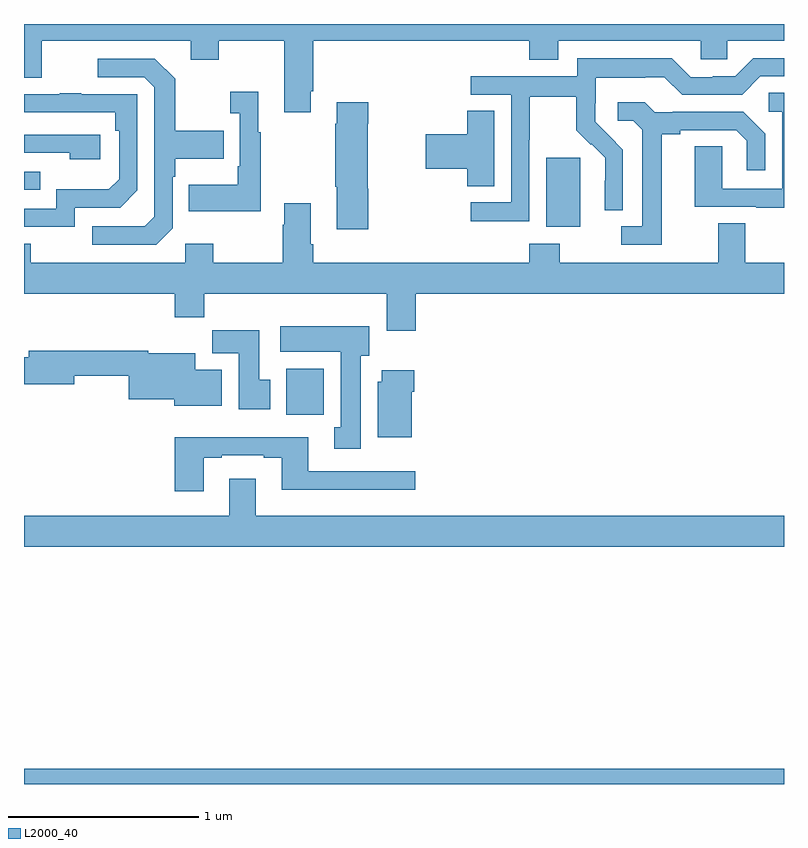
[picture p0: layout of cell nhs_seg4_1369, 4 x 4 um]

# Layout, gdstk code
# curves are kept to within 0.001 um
import gdstk
lib = gdstk.Library(unit=1e-6, precision=1e-09)
def R(c, l, rs):  # rectangles x0, y0, x1, y1
    for r in rs: c.add(gdstk.rectangle(r[:2], r[2:], *l))
def P(c, l, *ps):  # polygons
    for p in ps: c.add(gdstk.Polygon(p, *l))
L2000_40 = (2000, 40)

nhs_seg4_1369 = lib.new_cell('nhs_seg4_1369')
R(nhs_seg4_1369, L2000_40, [(181,800.9,185,800.98), (182.381,802.844,182.578,803.086), (183.749,803.834,183.928,804.195), (181,804.027,181.085,804.123)])
P(nhs_seg4_1369, L2000_40, [(183.659,804.713),(183.811,804.713),(183.811,804.812),(184.563,804.812),(184.563,804.714),(184.701,804.714),(184.701,804.812),(185,804.812),(185,804.9),(181,804.9),(181,804.618),(181.093,804.618),(181.093,804.812),(181.877,804.812),(181.877,804.713),(182.025,804.713),(182.025,804.812),(182.369,804.812),(182.369,804.435),(182.509,804.435),(182.509,804.547),(182.522,804.547),(182.522,804.812),(183.659,804.812)],
  [(183.66,804.292),(183.663,804.292),(183.663,804.516),(183.907,804.516),(183.907,804.341),(183.984,804.264),(183.987,804.267),(184.058,804.197),(184.058,804.074),(184.056,804.074),(184.056,803.92),(184.152,803.92),(184.152,804.238),(184.006,804.386),(184.006,804.483),(184.008,804.483),(184.008,804.617),(184.271,804.617),(184.271,804.621),(184.371,804.621),(184.464,804.528),(184.779,804.528),(184.875,804.624),(185,804.624),(185,804.72),(184.839,804.72),(184.743,804.624),(184.625,804.624),(184.625,804.621),(184.509,804.621),(184.409,804.721),(183.912,804.721),(183.912,804.624),(183.351,804.624),(183.351,804.528),(183.564,804.528),(183.564,803.961),(183.351,803.961),(183.351,803.863),(183.66,803.863)],
  [(181.782,803.826),(181.782,804.095),(181.795,804.095),(181.795,804.191),(182.051,804.191),(182.051,804.339),(181.795,804.339),(181.795,804.611),(181.689,804.717),(181.389,804.717),(181.389,804.621),(181.632,804.621),(181.686,804.567),(181.686,803.886),(181.635,803.835),(181.359,803.835),(181.359,803.739),(181.695,803.739)],
  [(182.245,804.331),(182.233,804.331),(182.233,804.544),(182.085,804.544),(182.085,804.431),(182.136,804.431),(182.136,804.151),(182.124,804.151),(182.124,804.055),(181.867,804.055),(181.867,803.915),(182.245,803.915)],
  [(185,804.539),(184.92,804.539),(184.92,804.438),(184.992,804.438),(184.992,804.033),(184.674,804.033),(184.674,804.257),(184.529,804.257),(184.529,803.937),(184.853,803.937),(184.853,803.933),(185,803.933)],
  [(181.266,803.934),(181.506,803.934),(181.596,804.024),(181.596,804.531),(181.301,804.531),(181.301,804.536),(181.189,804.536),(181.189,804.531),(181,804.531),(181,804.435),(181.48,804.435),(181.48,804.338),(181.5,804.338),(181.5,804.084),(181.447,804.031),(181.17,804.031),(181.17,803.928),(181,803.928),(181,803.832),(181.266,803.832)],
  [(184.357,804.32),(184.453,804.32),(184.453,804.342),(184.748,804.342),(184.805,804.285),(184.805,804.129),(184.902,804.129),(184.902,804.322),(184.786,804.438),(184.414,804.438),(184.414,804.435),(184.32,804.435),(184.268,804.487),(184.125,804.487),(184.125,804.39),(184.206,804.39),(184.253,804.343),(184.253,803.835),(184.143,803.835),(184.143,803.739),(184.357,803.739)],
  [(182.813,804.032),(182.808,804.032),(182.808,804.374),(182.813,804.374),(182.813,804.487),(182.645,804.487),(182.645,804.374),(182.638,804.374),(182.638,804.043),(182.645,804.043),(182.645,803.82),(182.813,803.82)],
  [(183.475,804.443),(183.332,804.443),(183.332,804.32),(183.114,804.32),(183.114,804.137),(183.332,804.137),(183.332,804.046),(183.475,804.046)],
  [(181.402,804.318),(181,804.318),(181,804.222),(181.241,804.222),(181.241,804.188),(181.402,804.188)],
  [(183.062,803.48),(185,803.48),(185,803.644),(184.795,803.644),(184.795,803.852),(184.655,803.852),(184.655,803.644),(183.819,803.644),(183.819,803.743),(183.659,803.743),(183.659,803.644),(182.522,803.644),(182.522,803.74),(182.509,803.74),(182.509,803.956),(182.369,803.956),(182.369,803.843),(182.362,803.843),(182.362,803.644),(181.995,803.644),(181.995,803.743),(181.848,803.743),(181.848,803.644),(181.035,803.644),(181.035,803.743),(181,803.743),(181,803.48),(181.793,803.48),(181.793,803.356),(181.949,803.356),(181.949,803.48),(182.909,803.48),(182.909,803.286),(183.062,803.286)],
  [(182.773,803.154),(182.818,803.154),(182.818,803.308),(182.349,803.308),(182.349,803.174),(182.666,803.174),(182.666,802.778),(182.633,802.778),(182.633,802.665),(182.773,802.665)],
  [(182.296,803.028),(182.239,803.028),(182.239,803.287),(181.99,803.287),(181.99,803.168),(182.129,803.168),(182.129,802.872),(182.296,802.872)],
  [(182.041,803.08),(181.9,803.08),(181.9,803.167),(181.654,803.167),(181.654,803.179),(181.025,803.179),(181.025,803.145),(181,803.145),(181,803.003),(181.264,803.003),(181.264,803.05),(181.55,803.05),(181.55,802.925),(181.79,802.925),(181.79,802.892),(182.041,802.892)],
  [(183.04,802.964),(183.053,802.964),(183.053,803.077),(182.882,803.077),(182.882,803.016),(182.861,803.016),(182.861,802.724),(183.04,802.724)],
  [(181.945,802.617),(182.041,802.617),(182.041,802.629),(182.261,802.629),(182.261,802.617),(182.357,802.617),(182.357,802.448),(183.058,802.448),(183.058,802.545),(182.497,802.545),(182.497,802.726),(181.793,802.726),(181.793,802.44),(181.945,802.44)],
  [(185,802.312),(182.221,802.312),(182.221,802.507),(182.081,802.507),(182.081,802.312),(181,802.312),(181,802.148),(185,802.148)])

lib.write_gds('nhs_seg4_1369.gds')
